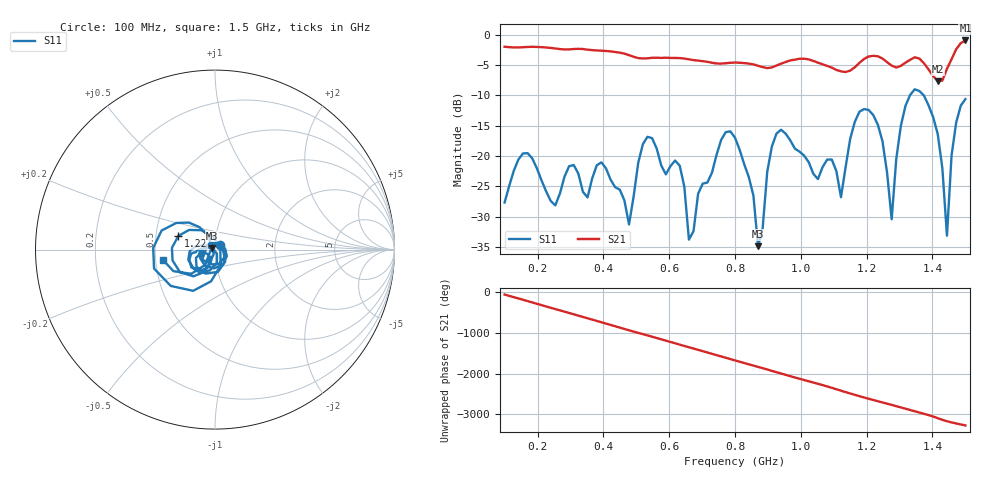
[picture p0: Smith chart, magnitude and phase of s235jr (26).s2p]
! NanoVNA-App
! Date: 2025-09-26 09:44:59
! Start: 100MHz Stop: 1,5GHz Points: 101
! S-Parameter data: F S11 S21 S12 S22
# Hz S RI R 50
!  Frequency  S11_Real  S11_Imag  S21_Real  S21_Imag  S12_Real  S12_Imag  S22_Real  S22_Imag
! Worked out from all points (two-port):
!   101 points, 100 MHz to 1.5 GHz, reference 50 ohm
!   highest |S21| = -0.92 dB at 1.5 GHz (marker M1); lowest = -7.6 dB at 1.416 GHz (marker M2)
!   |S21| within 3 dB of the highest: start of sweep to 648.1 MHz; 1.194 GHz to 1.248 GHz (54.26 MHz wide, 4.44 % of centre) (the widest 2 of 4)
!   lowest |S11| = -34.9 dB at 870 MHz (marker M3), VSWR 1.04, Z = 48.5 + j0.948 ohm
!   |S11| at or under -10 dB: start of sweep to 1.331 GHz; 1.374 GHz to end of sweep
!   S12 and S22 are empty: the file has one direction only
!   S11 on the Smith chart (normalised r, x): 100 MHz: 1.06, +0.06; 1.22 GHz: 0.65, +0.11; 1.5 GHz: 0.55, -0.07
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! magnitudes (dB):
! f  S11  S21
! 100 MHz  -27.7  -2.0
! 156 MHz  -19.6  -2.0
! 338 MHz  -25.9  -2.3
! 394 MHz  -21.1  -2.6
! 478 MHz  -31.3  -3.3
! 520 MHz  -18.1  -3.9
! 576 MHz  -21.6  -3.8
! 632 MHz  -21.6  -3.8
! 660 MHz  -33.8  -4.0
! 800 MHz  -17.0  -4.6
! 870 MHz  -34.9  -5.1
! 926 MHz  -16.3  -5.1
! 1.038 GHz  -22.9  -4.3
! 1.122 GHz  -26.8  -6.0
! 1.164 GHz  -14.4  -5.3
! 1.22 GHz  -13.2  -3.5
! 1.276 GHz  -30.5  -5.1
! 1.332 GHz  -9.9  -4.1
! 1.416 GHz  -16.4  -7.6
! 1.444 GHz  -33.2  -5.6
! 1.458 GHz  -19.9  -4.0
! 1.5 GHz  -10.6  -0.9
